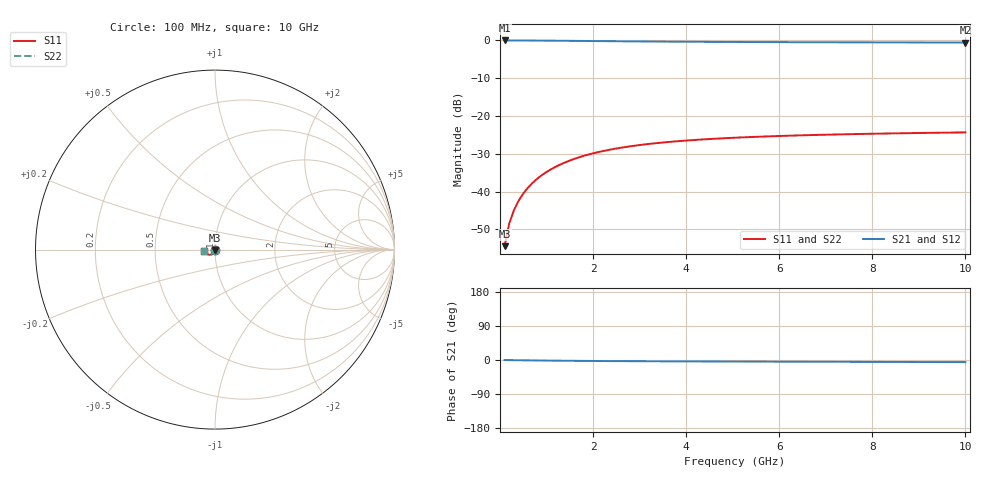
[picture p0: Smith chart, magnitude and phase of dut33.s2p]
! Touchstone file exported from HFSS 2024.1.0
!  File:  C:/UserFiles/LocalFiles/RDL_TSV_Batchsim/temp_TSV1_33_1779370240.aedt
!  Generated:  09:35:21 PM May 21, 2026
!  Design:  TSV1
!  Project:  temp_TSV1_33_1779370240
!  Setup:  Setup1
!  Solution:  Sweep
! Variables:
!  dtsv = 14.07um
!  hbump = 3um
!  htsv = 87.42um
!  lrdl = 252.1521522um
!  p = 40
!  p1 = 56.87um
!  t = 500um
!  trdl = 3um
!  wrdl = 24.89489489um
# GHz S MA R 50.000000
! Terminal data exported
! Port[1] = TSV22_T1
! Port[2] = TSV22_T2
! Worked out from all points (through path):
!   100 points, 100 MHz to 10 GHz, reference 50 ohm
!   highest |S21| = 0.00 dB at 100 MHz (marker M1); lowest = -0.5 dB at 10 GHz (marker M2)
!   lowest |S11| = -54.5 dB at 100 MHz (marker M3), VSWR 1.00, Z = 50 - j0.189 ohm
!   |S11| at or under -10 dB: start of sweep to end of sweep
!   |S22| runs from -54.5 to -24.3 dB; largest |S21 - S12| = 5.2e-15
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0.1  0.001894 -89.3  0.9998 -0.2  0.9998 -0.2  0.001894 -89.3
! Gamma 0 0 0 0
! Port Impedance 50 0 50 0
0.2  0.003786 -92.4  0.9996 -0.3  0.9996 -0.3  0.003786 -92.4
0.3  0.005674 -94.7  0.9993 -0.5  0.9993 -0.5  0.005674 -94.7
0.4  0.007548 -96.8  0.9988 -0.6  0.9988 -0.6  0.007548 -96.8
0.5  0.009401 -98.9  0.9983 -0.8  0.9983 -0.8  0.009401 -98.9
0.6  0.01123 -100.9  0.9976 -0.9  0.9976 -0.9  0.01123 -100.9
0.7  0.01302 -102.8  0.9968 -1.1  0.9968 -1.1  0.01302 -102.8
0.8  0.01477 -104.7  0.996 -1.2  0.996 -1.2  0.01477 -104.7
0.9  0.01648 -106.6  0.995 -1.4  0.995 -1.4  0.01648 -106.6
1.1  0.01977 -110.2  0.993 -1.6  0.993 -1.6  0.01977 -110.2
1.4  0.02432 -115.3  0.9895 -2.0  0.9895 -2.0  0.02432 -115.3
1.6  0.0271 -118.4  0.9871 -2.2  0.9871 -2.2  0.0271 -118.4
1.8  0.02967 -121.4  0.9845 -2.4  0.9845 -2.4  0.02967 -121.4
2.1  0.03315 -125.6  0.9808 -2.7  0.9808 -2.7  0.03315 -125.6
2.5  0.03716 -130.7  0.976 -2.9  0.976 -2.9  0.03716 -130.7
2.9  0.04052 -135.1  0.9715 -3.2  0.9715 -3.2  0.04052 -135.1
3.4  0.044 -140.1  0.9666 -3.4  0.9666 -3.4  0.044 -140.1
4.2  0.04828 -146.6  0.96 -3.8  0.96 -3.8  0.04828 -146.6
5.1  0.05179 -152.7  0.9542 -4.1  0.9542 -4.1  0.05179 -152.7
6.7  0.05598 -161.0  0.947 -4.6  0.947 -4.6  0.05598 -161.0
8.4  0.05882 -167.9  0.9421 -5.1  0.9421 -5.1  0.05882 -167.8
10  0.06068 -173.1  0.9389 -5.7  0.9389 -5.7  0.06068 -173.1
